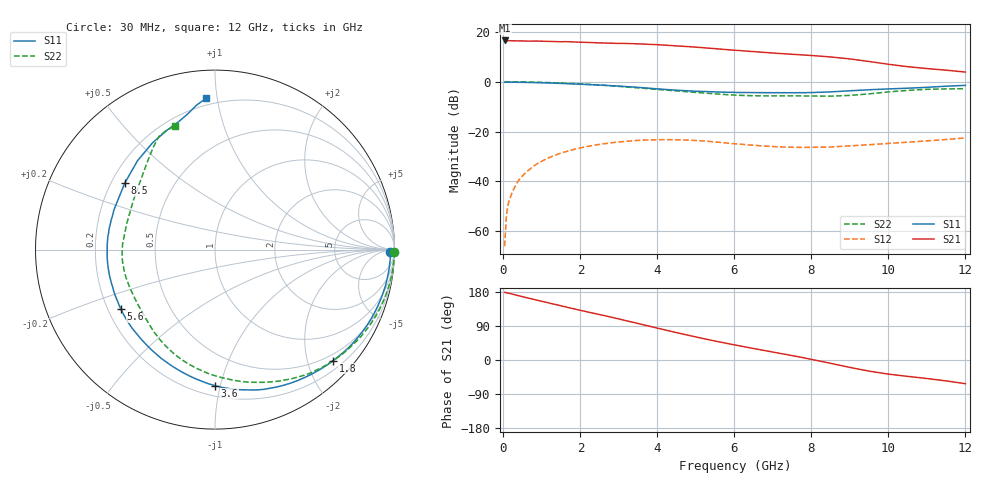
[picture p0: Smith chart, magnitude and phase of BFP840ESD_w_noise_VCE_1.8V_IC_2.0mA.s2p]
! Infineon Technologies  Discrete & RF Semiconductors
! BFP840ESD
! VCE =  1.8 V,  IC =  2.0 mA
! Common Emitter S-Parameters:  May 2012
# GHz  S  MA  R  50
!  f  S11  S21  S12  S22
! GHz  MAG  ANG  MAG  ANG  MAG  ANG  MAG  ANG
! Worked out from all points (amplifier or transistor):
!   93 points, 30 MHz to 12 GHz, reference 50 ohm
!   highest |S21| = 16.6 dB at 30 MHz (marker M1)
!   |S21| within 3 dB of that: start of sweep to 5.256 GHz
!   unconditionally stable (mu >= 1): 6.886 GHz to 10.71 GHz
!   at 1.1 GHz: K = 0.11, MSG = 23.6 dB, |S12| = -31.1 dB
!   at 4.2 GHz: K = 0.38, MSG = 19.0 dB, |S12| = -23.2 dB
!   at 12 GHz: K = 0.64, MSG = 13.2 dB, |S12| = -22.6 dB
!   lowest NFmin = 0.41 dB at 450 MHz
!   S11 on the Smith chart (normalised r, x): 30 MHz: 68, -36; 1.8 GHz: 0.37, -2.48; 3.6 GHz: 0.27, -0.96; 5.6 GHz: 0.25, -0.27; 8.5 GHz: 0.25, +0.31; 12 GHz: 0.16, +0.93
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0.03  0.9774 -0.7  6.724 178.5  0.0005 98.0  0.9993 -0.7
0.08  0.9776 -1.9  6.616 177.4  0.0022 91.4  0.9992 -1.8
0.13  0.9781 -3.1  6.658 176.5  0.0037 96.1  0.9987 -2.9
0.38  0.9733 -9.1  6.598 170.0  0.0101 81.2  0.9947 -8.3
0.8  0.9601 -19.1  6.539 159.7  0.0206 73.2  0.9803 -17.5
1.1  0.9466 -26.3  6.466 152.5  0.028 67.0  0.9654 -24.0
1.8  0.9033 -43.2  6.285 135.7  0.0432 53.0  0.9178 -39.4
2.1  0.8828 -50.5  6.178 128.8  0.0489 47.1  0.8934 -45.9
3.1  0.8051 -76.2  5.88 105.8  0.0627 28.5  0.7946 -68.4
3.6  0.7583 -89.9  5.705 93.8  0.067 19.6  0.7404 -80.7
4.1  0.7083 -104.5  5.465 81.7  0.0688 10.9  0.6902 -93.4
4.9  0.6486 -128.4  5 63.0  0.0666 -1.5  0.6177 -113.0
5.6  0.6206 -147.6  4.54 47.9  0.0608 -9.3  0.5638 -128.5
6.1  0.6072 -159.7  4.237 38.0  0.0561 -11.6  0.5347 -139.6
6.5  0.604 -169.0  4.019 30.2  0.0529 -11.9  0.5229 -149.0
7.2  0.6008 175.4  3.674 17.2  0.0492 -10.5  0.519 -164.8
8  0.6053 156.6  3.357 1.7  0.0482 -6.6  0.5156 176.5
8.5  0.6245 143.6  3.138 -8.8  0.0489 -3.9  0.5127 163.8
9  0.6569 131.1  2.867 -19.6  0.0516 -2.5  0.5302 149.3
9.5  0.6894 120.3  2.541 -29.4  0.0543 -2.1  0.57 136.2
10.5  0.7401 106.0  2.002 -43.2  0.061 -2.7  0.6691 120.7
12  0.8442 93.4  1.561 -62.5  0.0745 -6.8  0.7241 108.0
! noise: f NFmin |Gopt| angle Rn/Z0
0.45  0.41  0.76  3  0.37
0.9  0.41  0.76  9  0.33
1.5  0.48  0.75  21  0.28
1.9  0.54  0.74  24  0.26
2.4  0.6  0.68  35  0.23
3.5  0.67  0.55  60  0.18
5.5  0.89  0.38  116  0.13
8  1.18  0.5  -152  0.06
10  1.44  0.57  -112  0.17
12  1.75  0.61  -87  0.3
